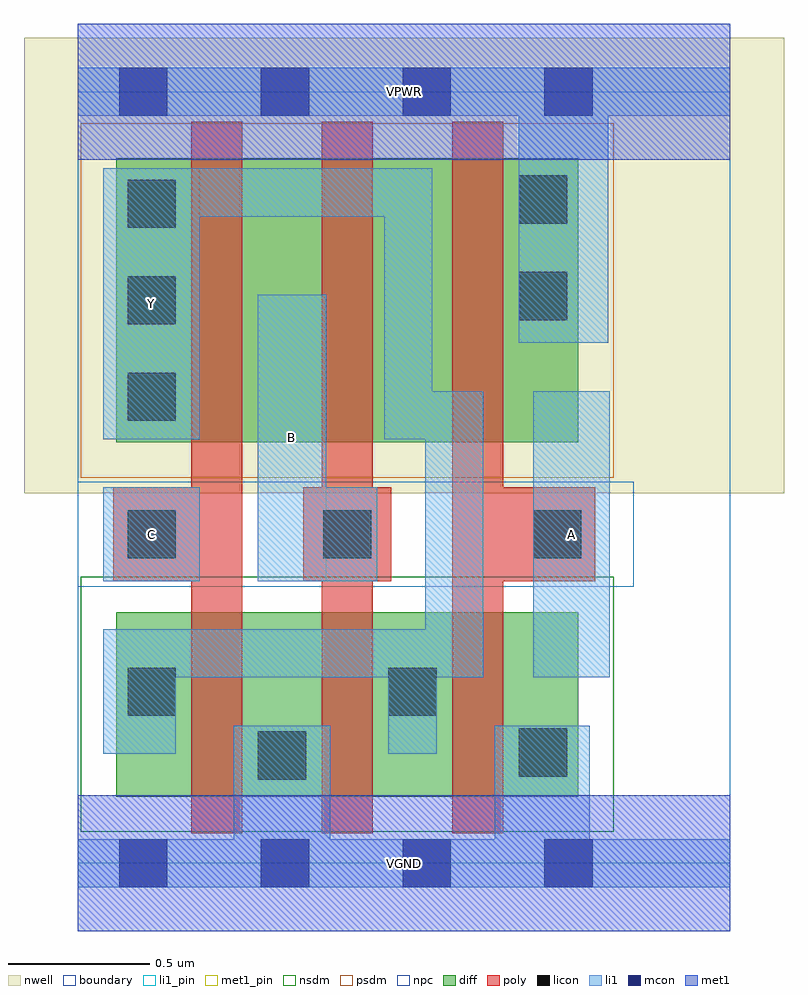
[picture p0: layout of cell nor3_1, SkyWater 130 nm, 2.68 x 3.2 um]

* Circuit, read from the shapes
.subckt nor3_1 A B C VGND VPWR Y
XM1 VGND C Y VSUBS sky130_fd_pr__nfet_01v8 w=0.65 l=0.18
XM2 Y B VGND VSUBS sky130_fd_pr__nfet_01v8 w=0.65 l=0.18
XM3 VGND A Y VSUBS sky130_fd_pr__nfet_01v8 w=0.65 l=0.18
XM4 n1 C Y n2 sky130_fd_pr__pfet_01v8 w=1 l=0.18
XM5 n3 B n1 n2 sky130_fd_pr__pfet_01v8 w=1 l=0.18
XM6 VPWR A n3 n2 sky130_fd_pr__pfet_01v8 w=1 l=0.18
.ends

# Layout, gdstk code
import gdstk
lib = gdstk.Library(unit=1e-6, precision=1e-09)
def R(c, l, rs):  # rectangles x0, y0, x1, y1
    for r in rs: c.add(gdstk.rectangle(r[:2], r[2:], *l))
def A(c, l, x, y, w, h, nx, ny, dx, dy):  # array of equal rectangles
    R(c, l, [(x+i*dx, y+j*dy, x+i*dx+w, y+j*dy+h) for i in range(nx) for j in range(ny)])
nwell = (64, 20)
diff = (65, 20)
poly = (66, 20)
licon = (66, 44)
li1_pin = (67, 16)
li1 = (67, 20)
mcon = (67, 44)
met1_pin = (68, 16)
met1 = (68, 20)
nsdm = (93, 44)
psdm = (94, 20)
npc = (95, 20)
boundary = (235, 4)

nor3_1 = lib.new_cell('nor3_1')
R(nor3_1, nwell, [(-0.19,1.305,2.49,2.91), (0,1.305,2.3,2.91)])
R(nor3_1, diff, [(0.135,0.235,1.765,0.885), (0.135,1.485,1.765,2.485)])
A(nor3_1, poly, 0.4, 0.105, 0.18, 2.51, 3, 1, 0.46, 0)
R(nor3_1, poly, [(0.125,0.995,0.58,1.325), (0.795,0.995,1.105,1.325), (1.32,0.995,1.825,1.325)])
A(nor3_1, licon, 0.175, 1.56, 0.17, 0.17, 1, 3, 0, 0.34)
R(nor3_1, licon, [(0.635,0.295,0.805,0.465), (1.555,0.305,1.725,0.475), (0.175,0.52,0.345,0.69), (1.095,0.52,1.265,0.69), (0.175,1.075,0.345,1.245), (0.865,1.075,1.035,1.245), (1.605,1.075,1.775,1.245), (1.555,1.915,1.725,2.085), (1.555,2.255,1.725,2.425)])
R(nor3_1, li1_pin, [(1.605,0.655,1.875,1.665), (0.09,0.995,0.43,1.325), (0.635,0.995,0.875,2.005), (0.09,1.495,0.43,2.45)])
R(nor3_1, li1, [(0,-0.085,2.3,0.085), (0.55,-0.085,0.89,0.485), (1.47,-0.085,1.805,0.485), (0.09,0.385,0.345,0.825), (1.095,0.385,1.265,0.825), (0.09,0.655,1.43,0.825), (1.225,0.655,1.43,1.665), (1.605,0.655,1.875,1.665), (0.09,0.995,0.43,1.325), (0.635,0.995,0.875,2.005), (0.635,0.995,1.055,1.325), (0.09,1.495,0.43,2.45), (1.08,1.495,1.25,2.45), (1.555,1.835,1.87,2.805), (0.09,2.28,1.25,2.45), (0,2.635,2.3,2.805)])
A(nor3_1, mcon, 0.145, -0.085, 0.17, 0.17, 4, 2, 0.5, 2.72)
R(nor3_1, met1_pin, [(0,-0.24,2.3,0.24), (0,2.48,2.3,2.96)])
R(nor3_1, met1, [(0,-0.24,2.3,0.24), (0,2.48,2.3,2.96)])
R(nor3_1, nsdm, [(0.01,0.11,1.89,1.01)])
R(nor3_1, psdm, [(0.01,1.36,1.89,2.61)])
R(nor3_1, npc, [(0,0.975,1.96,1.345)])
R(nor3_1, boundary, [(0,0,2.3,2.72)])
nor3_1.add(gdstk.Label('A', (1.74,1.16), layer=67, texttype=5))
nor3_1.add(gdstk.Label('B', (0.755,1.5), layer=67, texttype=5))
nor3_1.add(gdstk.Label('C', (0.26,1.16), layer=67, texttype=5))
nor3_1.add(gdstk.Label('Y', (0.26,1.972), layer=67, texttype=5))
nor3_1.add(gdstk.Label('VPWR', (1.15,2.72), layer=68, texttype=5))
nor3_1.add(gdstk.Label('VGND', (1.15,0), layer=68, texttype=5))
nor3_1.add(gdstk.Label('A', (1.74,1.16), layer=67, texttype=16))
nor3_1.add(gdstk.Label('B', (0.755,1.5), layer=67, texttype=16))
nor3_1.add(gdstk.Label('C', (0.26,1.16), layer=67, texttype=16))
nor3_1.add(gdstk.Label('Y', (0.26,1.972), layer=67, texttype=16))
nor3_1.add(gdstk.Label('VPWR', (1.15,2.72), layer=68, texttype=16))
nor3_1.add(gdstk.Label('VGND', (1.15,0), layer=68, texttype=16))

lib.write_gds('nor3_1.gds')
